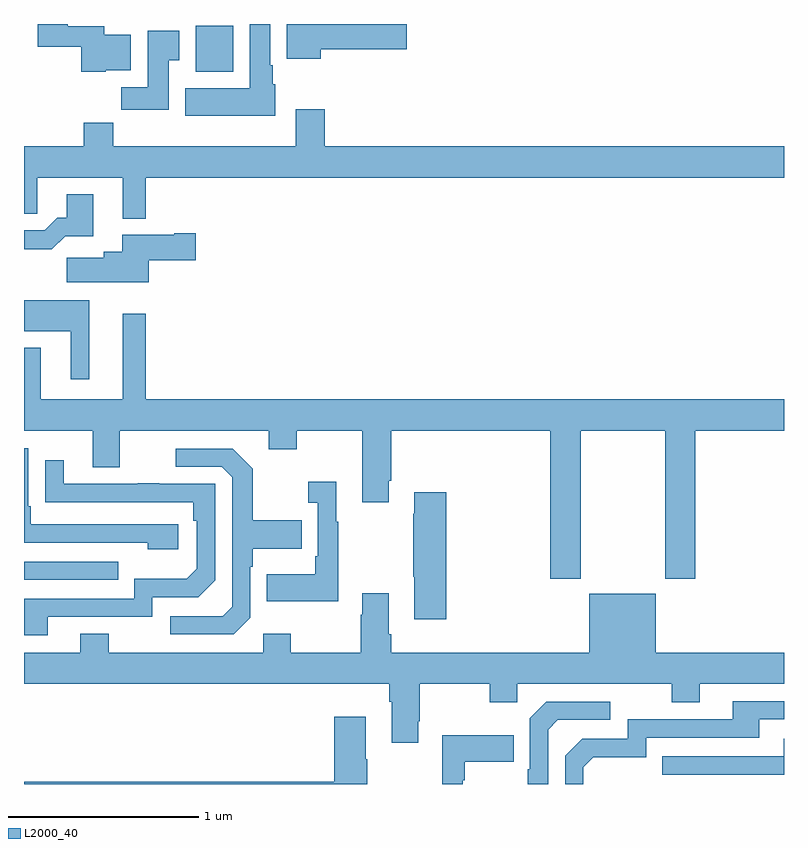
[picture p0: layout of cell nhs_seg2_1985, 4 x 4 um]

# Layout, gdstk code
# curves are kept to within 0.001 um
import gdstk
lib = gdstk.Library(unit=1e-6, precision=1e-09)
def R(c, l, rs):  # rectangles x0, y0, x1, y1
    for r in rs: c.add(gdstk.rectangle(r[:2], r[2:], *l))
def P(c, l, *ps):  # polygons
    for p in ps: c.add(gdstk.Polygon(p, *l))
L2000_40 = (2000, 40)

nhs_seg2_1985 = lib.new_cell('nhs_seg2_1985')
R(nhs_seg2_1985, L2000_40, [(215,622.875,215.495,622.971), (215.903,625.55,216.1,625.792)])
P(nhs_seg2_1985, L2000_40, [(215.43,625.556),(215.563,625.556),(215.563,625.744),(215.422,625.744),(215.422,625.789),(215.23,625.789),(215.23,625.8),(215.072,625.8),(215.072,625.679),(215.3,625.679),(215.3,625.55),(215.43,625.55)],
  [(216.562,625.667),(217.015,625.667),(217.015,625.8),(216.383,625.8),(216.383,625.616),(216.562,625.616)],
  [(216.322,625.482),(216.31,625.482),(216.31,625.582),(216.295,625.582),(216.295,625.8),(216.188,625.8),(216.188,625.462),(215.849,625.462),(215.849,625.316),(216.322,625.316)],
  [(215.761,625.609),(215.818,625.609),(215.818,625.765),(215.651,625.765),(215.651,625.468),(215.512,625.468),(215.512,625.35),(215.761,625.35)],
  [(215.641,624.992),(219,624.992),(219,625.156),(216.584,625.156),(216.584,625.351),(216.431,625.351),(216.431,625.156),(215.471,625.156),(215.471,625.28),(215.315,625.28),(215.315,625.156),(215,625.156),(215,624.802),(215.07,624.802),(215.07,624.992),(215.519,624.992),(215.519,624.776),(215.641,624.776)],
  [(215.216,624.683),(215.365,624.683),(215.365,624.904),(215.225,624.904),(215.225,624.781),(215.176,624.781),(215.109,624.714),(215,624.714),(215,624.614),(215.147,624.614)],
  [(215.656,624.557),(215.905,624.557),(215.905,624.699),(215.792,624.699),(215.792,624.691),(215.516,624.691),(215.516,624.601),(215.42,624.601),(215.42,624.569),(215.226,624.569),(215.226,624.44),(215.656,624.44)],
  [(215.344,624.346),(215,624.346),(215,624.182),(215.246,624.182),(215.246,623.931),(215.344,623.931)],
  [(217.929,623.66),(218.374,623.66),(218.374,622.881),(218.534,622.881),(218.534,623.66),(219,623.66),(219,623.824),(215.641,623.824),(215.641,624.274),(215.519,624.274),(215.519,623.824),(215.089,623.824),(215.089,624.097),(215,624.097),(215,623.66),(215.363,623.66),(215.363,623.466),(215.503,623.466),(215.503,623.66),(216.287,623.66),(216.287,623.561),(216.435,623.561),(216.435,623.66),(216.779,623.66),(216.779,623.283),(216.919,623.283),(216.919,623.395),(216.932,623.395),(216.932,623.66),(217.769,623.66),(217.769,622.881),(217.929,622.881)],
  [(215.812,623.166),(215.035,623.166),(215.035,623.263),(215.022,623.263),(215.022,623.568),(215,623.568),(215,623.07),(215.651,623.07),(215.651,623.036),(215.812,623.036)],
  [(216.192,622.674),(216.192,622.943),(216.205,622.943),(216.205,623.039),(216.461,623.039),(216.461,623.187),(216.205,623.187),(216.205,623.459),(216.099,623.565),(215.799,623.565),(215.799,623.469),(216.042,623.469),(216.096,623.415),(216.096,622.734),(216.045,622.683),(215.769,622.683),(215.769,622.587),(216.105,622.587)],
  [(215.125,622.68),(215.676,622.68),(215.676,622.782),(215.916,622.782),(216.006,622.872),(216.006,623.379),(215.711,623.379),(215.711,623.384),(215.599,623.384),(215.599,623.379),(215.209,623.379),(215.209,623.503),(215.113,623.503),(215.113,623.284),(215.89,623.283),(215.89,623.186),(215.91,623.186),(215.91,622.932),(215.857,622.879),(215.58,622.879),(215.58,622.776),(215,622.776),(215,622.584),(215.125,622.584)],
  [(216.655,623.179),(216.643,623.179),(216.643,623.392),(216.495,623.392),(216.495,623.279),(216.546,623.279),(216.546,622.999),(216.534,622.999),(216.534,622.903),(216.277,622.903),(216.277,622.763),(216.655,622.763)],
  [(217.223,623.335),(217.055,623.335),(217.055,623.222),(217.048,623.222),(217.048,622.891),(217.055,622.891),(217.055,622.668),(217.223,622.668)],
  [(217.075,622.129),(217.083,622.129),(217.083,622.328),(217.45,622.328),(217.45,622.229),(217.596,622.229),(217.596,622.328),(218.41,622.328),(218.41,622.229),(218.557,622.229),(218.557,622.328),(219,622.328),(219,622.492),(218.326,622.492),(218.326,622.801),(217.976,622.801),(217.976,622.492),(216.932,622.492),(216.932,622.588),(216.919,622.588),(216.919,622.804),(216.779,622.804),(216.779,622.691),(216.772,622.691),(216.772,622.492),(216.405,622.492),(216.405,622.591),(216.258,622.591),(216.258,622.492),(215.445,622.492),(215.445,622.591),(215.297,622.591),(215.297,622.492),(215,622.492),(215,622.328),(216.923,622.328),(216.923,622.232),(216.935,622.232),(216.935,622.017),(217.075,622.017)],
  [(217.944,621.888),(217.997,621.941),(218.274,621.941),(218.274,622.044),(218.869,622.044),(218.869,622.14),(219,622.14),(219,622.236),(218.729,622.236),(218.729,622.14),(218.178,622.14),(218.178,622.038),(217.938,622.038),(217.848,621.948),(217.848,621.8),(217.944,621.8)],
  [(217.758,622.086),(217.809,622.137),(218.086,622.137),(218.086,622.233),(217.749,622.233),(217.662,622.146),(217.662,621.877),(217.65,621.877),(217.65,621.8),(217.758,621.8)],
  [(216.807,621.929),(216.799,621.929),(216.799,622.153),(216.632,622.153),(216.632,621.812),(215,621.812),(215,621.8),(216.807,621.8)],
  [(217.308,621.821),(217.321,621.821),(217.321,621.917),(217.577,621.917),(217.577,622.057),(217.2,622.057),(217.2,621.8),(217.308,621.8)],
  [(219,622.039),(218.999,622.039),(218.999,621.945),(218.359,621.945),(218.359,621.849),(219,621.849)])

lib.write_gds('nhs_seg2_1985.gds')
